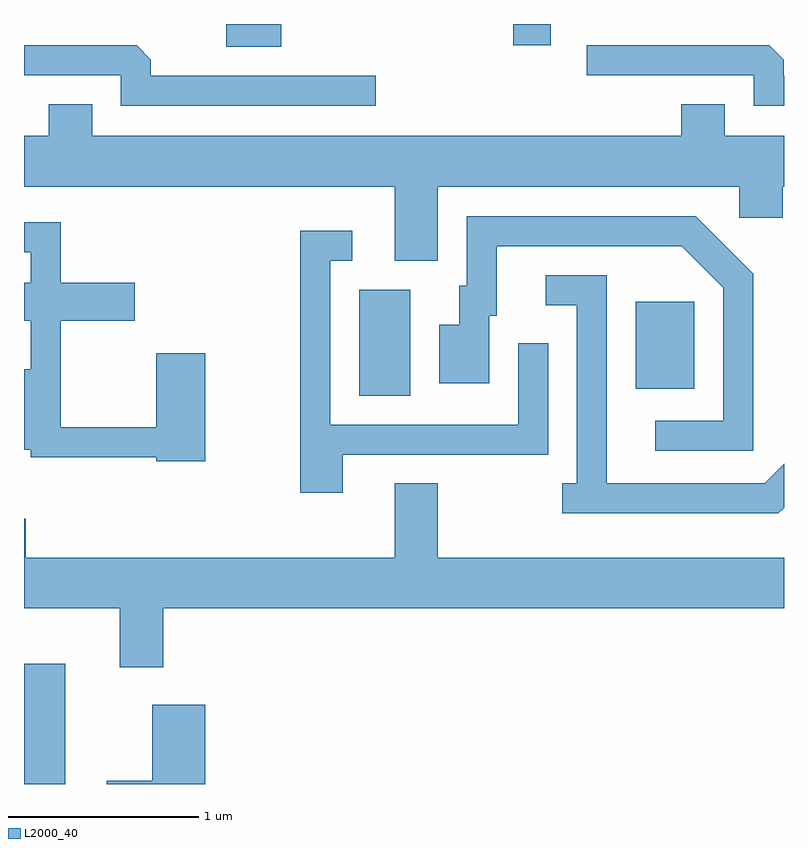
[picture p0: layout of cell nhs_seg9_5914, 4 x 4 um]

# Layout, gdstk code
import gdstk
lib = gdstk.Library(unit=1e-6, precision=1e-09)
def R(c, l, rs):  # rectangles x0, y0, x1, y1
    for r in rs: c.add(gdstk.rectangle(r[:2], r[2:], *l))
def P(c, l, *ps):  # polygons
    for p in ps: c.add(gdstk.Polygon(p, *l))
L2000_40 = (2000, 40)

nhs_seg9_5914 = lib.new_cell('nhs_seg9_5914')
R(nhs_seg9_5914, L2000_40, [(359.611,2006.432,359.829,2007.064), (361.376,2008.476,361.644,2009.034), (362.831,2008.511,363.139,2008.969), (360.676,2010.311,360.964,2010.432), (362.186,2010.321,362.384,2010.432)])
P(nhs_seg9_5914, L2000_40, [(363.611,2010.159),(363.609,2010.159),(363.609,2010.244),(363.534,2010.319),(362.573,2010.319),(362.573,2010.161),(363.451,2010.161),(363.451,2010.001),(363.611,2010.001)],
  [(361.463,2010.159),(360.279,2010.159),(360.279,2010.244),(360.204,2010.319),(359.611,2010.319),(359.611,2010.161),(360.121,2010.161),(360.121,2010.001),(361.463,2010.001)],
  [(361.789,2009.576),(363.376,2009.576),(363.376,2009.411),(363.604,2009.411),(363.604,2009.576),(363.611,2009.576),(363.611,2009.844),(363.299,2009.844),(363.299,2010.009),(363.071,2010.009),(363.071,2009.844),(359.969,2009.844),(359.969,2010.009),(359.741,2010.009),(359.741,2009.844),(359.611,2009.844),(359.611,2009.576),(361.561,2009.576),(361.561,2009.186),(361.789,2009.186)],
  [(363.449,2009.117),(363.147,2009.419),(361.941,2009.419),(361.941,2009.054),(361.901,2009.054),(361.901,2008.849),(361.796,2008.849),(361.796,2008.541),(362.059,2008.541),(362.059,2008.896),(362.099,2008.896),(362.099,2009.261),(363.074,2009.261),(363.291,2009.044),(363.291,2008.344),(362.933,2008.344),(362.933,2008.186),(363.449,2008.186)],
  [(360.564,2008.699),(360.306,2008.699),(360.306,2008.309),(359.804,2008.309),(359.804,2008.871),(360.194,2008.871),(360.194,2009.069),(359.804,2009.069),(359.804,2009.389),(359.611,2009.389),(359.611,2009.231),(359.646,2009.231),(359.646,2009.069),(359.611,2009.069),(359.611,2008.871),(359.646,2008.871),(359.646,2008.614),(359.611,2008.614),(359.611,2008.191),(359.646,2008.191),(359.646,2008.151),(360.306,2008.151),(360.306,2008.131),(360.564,2008.131)],
  [(361.289,2008.166),(362.369,2008.166),(362.369,2008.753),(362.211,2008.753),(362.211,2008.324),(361.224,2008.324),(361.224,2009.186),(361.338,2009.186),(361.338,2009.344),(361.066,2009.344),(361.066,2007.966),(361.289,2007.966)],
  [(363.611,2007.885),(363.611,2008.117),(363.509,2008.014),(362.679,2008.014),(362.679,2009.109),(362.358,2009.109),(362.358,2008.951),(362.521,2008.951),(362.521,2008.014),(362.443,2008.014),(362.443,2007.856),(363.582,2007.856)],
  [(360.344,2007.356),(363.611,2007.356),(363.611,2007.624),(361.789,2007.624),(361.789,2008.014),(361.561,2008.014),(361.561,2007.624),(359.619,2007.624),(359.619,2007.829),(359.611,2007.829),(359.611,2007.356),(360.116,2007.356),(360.116,2007.046),(360.344,2007.046)],
  [(360.564,2006.849),(360.286,2006.849),(360.286,2006.449),(360.046,2006.449),(360.046,2006.432),(360.564,2006.432)])

lib.write_gds('nhs_seg9_5914.gds')
